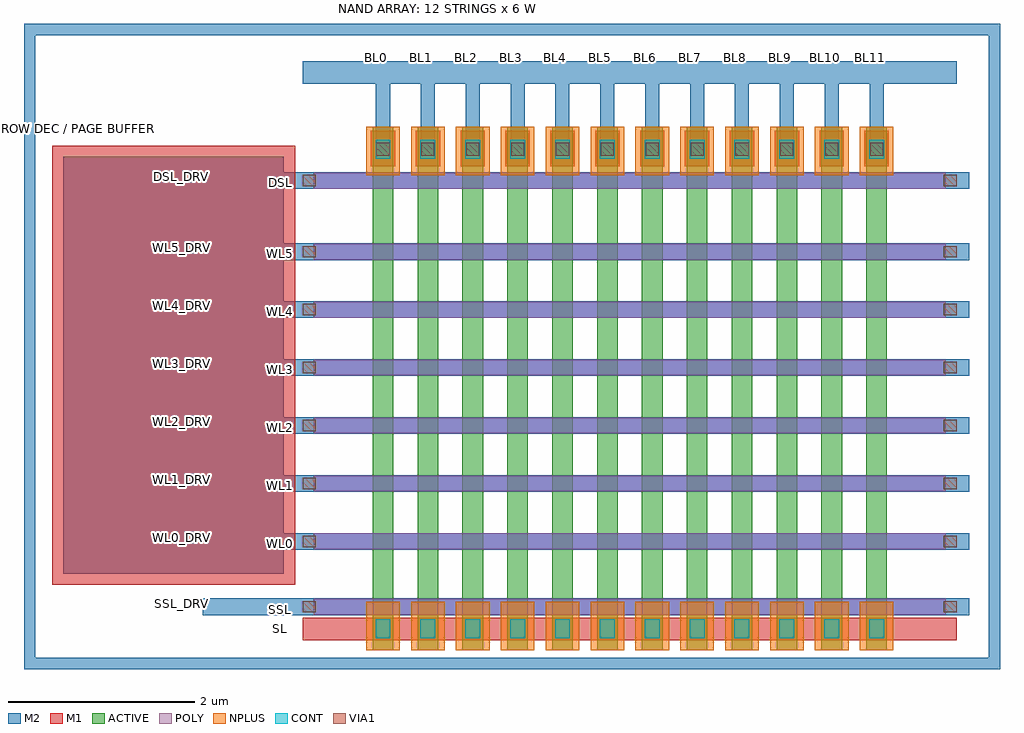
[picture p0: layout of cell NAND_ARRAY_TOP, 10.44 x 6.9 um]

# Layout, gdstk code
import gdstk
lib = gdstk.Library(unit=1e-6, precision=1e-09)
def R(c, l, rs):  # rectangles x0, y0, x1, y1
    for r in rs: c.add(gdstk.rectangle(r[:2], r[2:], *l))
def A(c, l, x, y, w, h, nx, ny, dx, dy):  # array of equal rectangles
    R(c, l, [(x+i*dx, y+j*dy, x+i*dx+w, y+j*dy+h) for i in range(nx) for j in range(ny)])
ACTIVE = (1, 0)
POLY = (2, 0)
M1 = (3, 0)
CONT = (4, 0)
NPLUS = (5, 0)
M2 = (6, 0)
VIA1 = (7, 0)

nand_string = lib.new_cell('NAND_STRING')
R(nand_string, ACTIVE, [(-0.11,0,0.11,5.6)])
R(nand_string, CONT, [(-0.08,0.13,0.08,0.33), (-0.08,5.26,0.08,5.46)])
R(nand_string, NPLUS, [(-0.18,0,0.18,0.52), (-0.18,5.08,0.18,5.6)])

nand_array_top = lib.new_cell('NAND_ARRAY_TOP')
A(nand_array_top, POLY, -0.74, 1.08, 6.76, 0.17, 1, 6, 0, 0.62)
R(nand_array_top, POLY, [(-0.74,0.38,6.02,0.55), (-0.74,4.94,6.02,5.11)])
A(nand_array_top, M1, -0.13, 5.18, 0.26, 0.38, 12, 1, 0.48, 0)
R(nand_array_top, M1, [(-3.54,0.7,-0.94,5.4)])
R(nand_array_top, M2, [(-3.84,-0.2,6.6,-0.08), (-3.84,-0.2,-3.72,6.7), (6.48,-0.2,6.6,6.7), (-3.42,0.82,-1.06,5.28), (-3.84,6.58,6.6,6.7)])
A(nand_array_top, VIA1, -0.86, 1.105, 0.14, 0.12, 1, 6, 0, 0.62)
A(nand_array_top, VIA1, 6, 1.105, 0.14, 0.12, 1, 6, 0, 0.62)
A(nand_array_top, VIA1, -0.07, 5.29, 0.14, 0.14, 12, 1, 0.48, 0)
R(nand_array_top, VIA1, [(-0.86,0.405,-0.72,0.525), (6,0.405,6.14,0.525), (-0.86,4.965,-0.72,5.085), (6,4.965,6.14,5.085)])
nand_array_top.add(gdstk.FlexPath([(-0.74,0.23),(6.02,0.23)], 0.24, ends="extended", simple_path=True, layer=3, datatype=0))  # M1
nand_array_top.add(gdstk.FlexPath([(-0.74,6.18),(6.02,6.18)], 0.24, ends="extended", simple_path=True, layer=6, datatype=0))  # M2
nand_array_top.add(gdstk.FlexPath([(0,5.43),(0,6.18)], 0.15, ends="extended", simple_path=True, layer=6, datatype=0))  # M2
nand_array_top.add(gdstk.FlexPath([(0.48,5.43),(0.48,6.18)], 0.15, ends="extended", simple_path=True, layer=6, datatype=0))  # M2
nand_array_top.add(gdstk.FlexPath([(0.96,5.43),(0.96,6.18)], 0.15, ends="extended", simple_path=True, layer=6, datatype=0))  # M2
nand_array_top.add(gdstk.FlexPath([(1.44,5.43),(1.44,6.18)], 0.15, ends="extended", simple_path=True, layer=6, datatype=0))  # M2
nand_array_top.add(gdstk.FlexPath([(1.92,5.43),(1.92,6.18)], 0.15, ends="extended", simple_path=True, layer=6, datatype=0))  # M2
nand_array_top.add(gdstk.FlexPath([(2.4,5.43),(2.4,6.18)], 0.15, ends="extended", simple_path=True, layer=6, datatype=0))  # M2
nand_array_top.add(gdstk.FlexPath([(2.88,5.43),(2.88,6.18)], 0.15, ends="extended", simple_path=True, layer=6, datatype=0))  # M2
nand_array_top.add(gdstk.FlexPath([(3.36,5.43),(3.36,6.18)], 0.15, ends="extended", simple_path=True, layer=6, datatype=0))  # M2
nand_array_top.add(gdstk.FlexPath([(3.84,5.43),(3.84,6.18)], 0.15, ends="extended", simple_path=True, layer=6, datatype=0))  # M2
nand_array_top.add(gdstk.FlexPath([(4.32,5.43),(4.32,6.18)], 0.15, ends="extended", simple_path=True, layer=6, datatype=0))  # M2
nand_array_top.add(gdstk.FlexPath([(4.8,5.43),(4.8,6.18)], 0.15, ends="extended", simple_path=True, layer=6, datatype=0))  # M2
nand_array_top.add(gdstk.FlexPath([(5.28,5.43),(5.28,6.18)], 0.15, ends="extended", simple_path=True, layer=6, datatype=0))  # M2
nand_array_top.add(gdstk.FlexPath([(-1.84,0.465),(6.18,0.465)], 0.18, ends="extended", simple_path=True, layer=6, datatype=0))  # M2
nand_array_top.add(gdstk.FlexPath([(-1.84,1.165),(6.18,1.165)], 0.18, ends="extended", simple_path=True, layer=6, datatype=0))  # M2
nand_array_top.add(gdstk.FlexPath([(-1.84,1.785),(6.18,1.785)], 0.18, ends="extended", simple_path=True, layer=6, datatype=0))  # M2
nand_array_top.add(gdstk.FlexPath([(-1.84,2.405),(6.18,2.405)], 0.18, ends="extended", simple_path=True, layer=6, datatype=0))  # M2
nand_array_top.add(gdstk.FlexPath([(-1.84,3.025),(6.18,3.025)], 0.18, ends="extended", simple_path=True, layer=6, datatype=0))  # M2
nand_array_top.add(gdstk.FlexPath([(-1.84,3.645),(6.18,3.645)], 0.18, ends="extended", simple_path=True, layer=6, datatype=0))  # M2
nand_array_top.add(gdstk.FlexPath([(-1.84,4.265),(6.18,4.265)], 0.18, ends="extended", simple_path=True, layer=6, datatype=0))  # M2
nand_array_top.add(gdstk.FlexPath([(-1.84,5.025),(6.18,5.025)], 0.18, ends="extended", simple_path=True, layer=6, datatype=0))  # M2
nand_array_top.add(gdstk.FlexPath([(-3.36,0.96),(-1.12,0.96)], 0.09, ends="extended", simple_path=True, layer=6, datatype=0))  # M2
nand_array_top.add(gdstk.FlexPath([(-3.36,1.38),(-1.12,1.38)], 0.09, ends="extended", simple_path=True, layer=6, datatype=0))  # M2
nand_array_top.add(gdstk.FlexPath([(-3.36,1.8),(-1.12,1.8)], 0.09, ends="extended", simple_path=True, layer=6, datatype=0))  # M2
nand_array_top.add(gdstk.FlexPath([(-3.36,2.22),(-1.12,2.22)], 0.09, ends="extended", simple_path=True, layer=6, datatype=0))  # M2
nand_array_top.add(gdstk.FlexPath([(-3.36,2.64),(-1.12,2.64)], 0.09, ends="extended", simple_path=True, layer=6, datatype=0))  # M2
nand_array_top.add(gdstk.FlexPath([(-3.36,3.06),(-1.12,3.06)], 0.09, ends="extended", simple_path=True, layer=6, datatype=0))  # M2
nand_array_top.add(gdstk.FlexPath([(-3.36,3.48),(-1.12,3.48)], 0.09, ends="extended", simple_path=True, layer=6, datatype=0))  # M2
nand_array_top.add(gdstk.FlexPath([(-3.36,3.9),(-1.12,3.9)], 0.09, ends="extended", simple_path=True, layer=6, datatype=0))  # M2
nand_array_top.add(gdstk.FlexPath([(-3.36,4.32),(-1.12,4.32)], 0.09, ends="extended", simple_path=True, layer=6, datatype=0))  # M2
nand_array_top.add(gdstk.FlexPath([(-3.36,4.74),(-1.12,4.74)], 0.09, ends="extended", simple_path=True, layer=6, datatype=0))  # M2
nand_array_top.add(gdstk.FlexPath([(-3.28,0.88),(-3.28,5.22)], 0.08, ends="extended", simple_path=True, layer=3, datatype=0))  # M1
nand_array_top.add(gdstk.FlexPath([(-3.04,0.88),(-3.04,5.22)], 0.08, ends="extended", simple_path=True, layer=3, datatype=0))  # M1
nand_array_top.add(gdstk.FlexPath([(-2.8,0.88),(-2.8,5.22)], 0.08, ends="extended", simple_path=True, layer=3, datatype=0))  # M1
nand_array_top.add(gdstk.FlexPath([(-2.56,0.88),(-2.56,5.22)], 0.08, ends="extended", simple_path=True, layer=3, datatype=0))  # M1
nand_array_top.add(gdstk.FlexPath([(-2.32,0.88),(-2.32,5.22)], 0.08, ends="extended", simple_path=True, layer=3, datatype=0))  # M1
nand_array_top.add(gdstk.FlexPath([(-2.08,0.88),(-2.08,5.22)], 0.08, ends="extended", simple_path=True, layer=3, datatype=0))  # M1
nand_array_top.add(gdstk.FlexPath([(-1.84,0.88),(-1.84,5.22)], 0.08, ends="extended", simple_path=True, layer=3, datatype=0))  # M1
nand_array_top.add(gdstk.Reference(nand_string, (0,0)))
nand_array_top.add(gdstk.Reference(nand_string, (0.48,0)))
nand_array_top.add(gdstk.Reference(nand_string, (0.96,0)))
nand_array_top.add(gdstk.Reference(nand_string, (1.44,0)))
nand_array_top.add(gdstk.Reference(nand_string, (1.92,0)))
nand_array_top.add(gdstk.Reference(nand_string, (2.4,0)))
nand_array_top.add(gdstk.Reference(nand_string, (2.88,0)))
nand_array_top.add(gdstk.Reference(nand_string, (3.36,0)))
nand_array_top.add(gdstk.Reference(nand_string, (3.84,0)))
nand_array_top.add(gdstk.Reference(nand_string, (4.32,0)))
nand_array_top.add(gdstk.Reference(nand_string, (4.8,0)))
nand_array_top.add(gdstk.Reference(nand_string, (5.28,0)))
nand_array_top.add(gdstk.Label('SSL', (-1.1,0.44), layer=2, texttype=0))
nand_array_top.add(gdstk.Label('WL0', (-1.1,1.14), layer=2, texttype=0))
nand_array_top.add(gdstk.Label('WL1', (-1.1,1.76), layer=2, texttype=0))
nand_array_top.add(gdstk.Label('WL2', (-1.1,2.38), layer=2, texttype=0))
nand_array_top.add(gdstk.Label('WL3', (-1.1,3), layer=2, texttype=0))
nand_array_top.add(gdstk.Label('WL4', (-1.1,3.62), layer=2, texttype=0))
nand_array_top.add(gdstk.Label('WL5', (-1.1,4.24), layer=2, texttype=0))
nand_array_top.add(gdstk.Label('DSL', (-1.1,5), layer=2, texttype=0))
nand_array_top.add(gdstk.Label('SL', (-1.1,0.23), layer=3, texttype=0))
nand_array_top.add(gdstk.Label('BL0', (-0.07,6.34), layer=6, texttype=0))
nand_array_top.add(gdstk.Label('BL1', (0.41,6.34), layer=6, texttype=0))
nand_array_top.add(gdstk.Label('BL2', (0.89,6.34), layer=6, texttype=0))
nand_array_top.add(gdstk.Label('BL3', (1.37,6.34), layer=6, texttype=0))
nand_array_top.add(gdstk.Label('BL4', (1.85,6.34), layer=6, texttype=0))
nand_array_top.add(gdstk.Label('BL5', (2.33,6.34), layer=6, texttype=0))
nand_array_top.add(gdstk.Label('BL6', (2.81,6.34), layer=6, texttype=0))
nand_array_top.add(gdstk.Label('BL7', (3.29,6.34), layer=6, texttype=0))
nand_array_top.add(gdstk.Label('BL8', (3.77,6.34), layer=6, texttype=0))
nand_array_top.add(gdstk.Label('BL9', (4.25,6.34), layer=6, texttype=0))
nand_array_top.add(gdstk.Label('BL10', (4.73,6.34), layer=6, texttype=0))
nand_array_top.add(gdstk.Label('BL11', (5.21,6.34), layer=6, texttype=0))
nand_array_top.add(gdstk.Label('SSL_DRV', (-2.16,0.505), layer=6, texttype=0))
nand_array_top.add(gdstk.Label('WL0_DRV', (-2.16,1.205), layer=6, texttype=0))
nand_array_top.add(gdstk.Label('WL1_DRV', (-2.16,1.825), layer=6, texttype=0))
nand_array_top.add(gdstk.Label('WL2_DRV', (-2.16,2.445), layer=6, texttype=0))
nand_array_top.add(gdstk.Label('WL3_DRV', (-2.16,3.065), layer=6, texttype=0))
nand_array_top.add(gdstk.Label('WL4_DRV', (-2.16,3.685), layer=6, texttype=0))
nand_array_top.add(gdstk.Label('WL5_DRV', (-2.16,4.305), layer=6, texttype=0))
nand_array_top.add(gdstk.Label('DSL_DRV', (-2.16,5.065), layer=6, texttype=0))
nand_array_top.add(gdstk.Label('ROW DEC / PAGE BUFFER', (-3.32,5.58), layer=3, texttype=0))
nand_array_top.add(gdstk.Label('NAND ARRAY: 12 STRINGS x 6 WL = 72 MOS', (0.58,6.92), layer=6, texttype=0))

lib.write_gds('NAND_ARRAY_TOP.gds')
